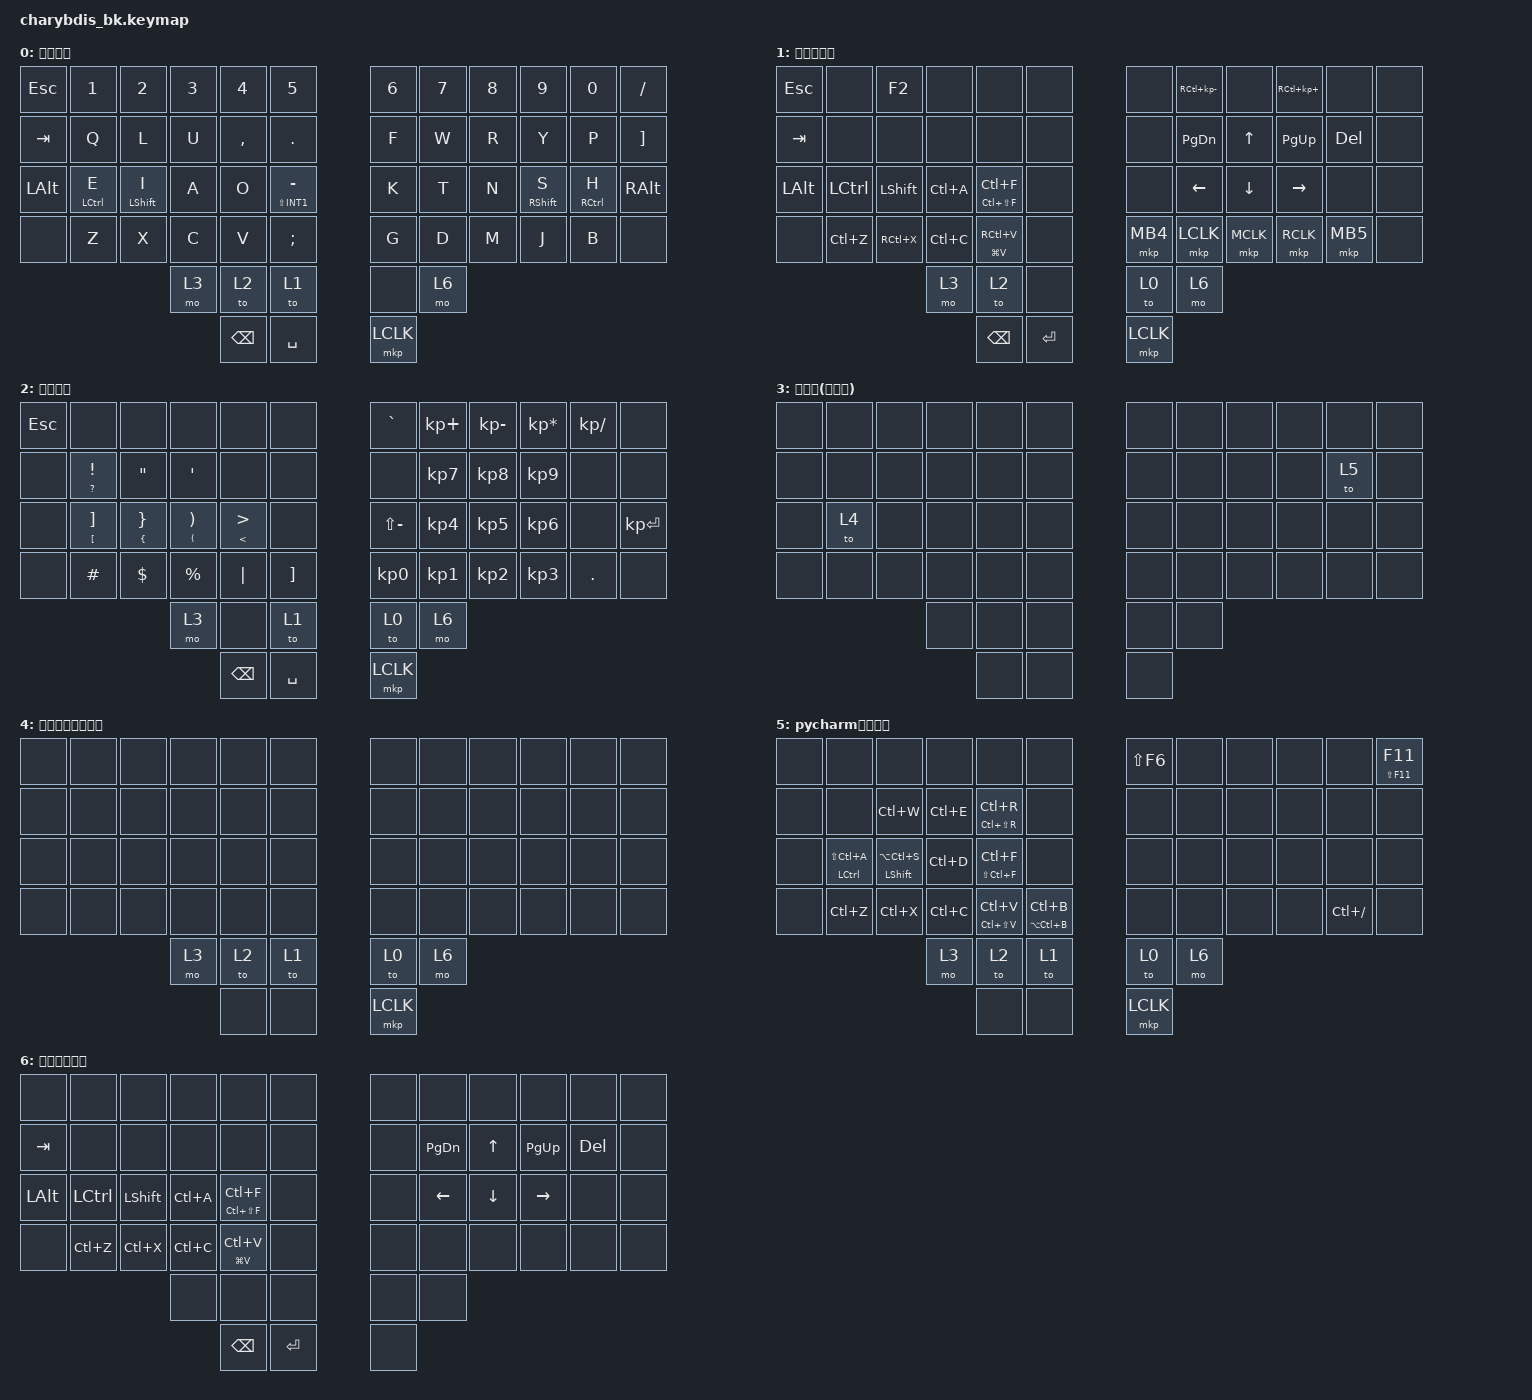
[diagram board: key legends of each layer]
#include <dt-bindings/zmk/mouse.h>
#include <behaviors/mouse_keys.dtsi>
#include <behaviors.dtsi>
#include <dt-bindings/zmk/keys.h>
#include <dt-bindings/zmk/pointing.h>

/ {
    /* --- トラックボール入力設定 --- */

    trackball_listener {
        compatible = "zmk,input-behavior-listener";
        device = <&vtrackball>;
        status = "okay";

        /* 根拠: 0,1,2の全レイヤーでマウス移動を許可する */

        layers = <0 1 2 3 4 5 6>; // <-- ここを修正
        evt-type = <INPUT_EV_REL>;
        x-input-code = <INPUT_REL_X>;
        y-input-code = <INPUT_REL_Y>;
        scale-multiplier = <1>;
        scale-divisor = <4>;
    };

    /* --- レイヤー3専用：低速設定（DPI変更） --- */
    /* ----------
    trackball_snipe_listener {
        compatible = "zmk,input-behavior-listener";
        device = <&vtrackball>;
        status = "okay";

        // 下記レイヤーの時だけこの設定を適用する

        layers = <2 3>;
        evt-type = <INPUT_EV_REL>;
        x-input-code = <INPUT_REL_X>;
        y-input-code = <INPUT_REL_Y>;
        scale-multiplier = <1>;

        // 根拠: 分母を大きくすると、マウスはより精密（低速）に動きます

        scale-divisor = <16>; // 2から8に変えることで、通常より4倍遅くなります
    };
    --------- */

    trackball_scroll_listener {
        compatible = "zmk,input-behavior-listener";
        device = <&vtrackball>;
        layers = <9>;
        evt-type = <INPUT_EV_REL>;
        x-input-code = <INPUT_REL_MISC>;
        y-input-code = <INPUT_REL_WHEEL>;
        y-invert;
        bindings = <&ib_wheel_scaler 1 14>;
    };

    ib_wheel_scaler: ib_wheel_scaler {
        compatible = "zmk,input-behavior-scaler";
        #binding-cells = <2>;
        evt-type = <INPUT_EV_REL>;
        input-code = <INPUT_REL_WHEEL>;
    };

    /* --- コンボ設定 --- */

    combos {
        compatible = "zmk,combos";

        zenkaku-hankaku-toggle {
            bindings = <&kp GRAVE>;
            key-positions = <14 13>;
            timeout-ms = <60>;
            require-prior-idle-ms = <100>;
            layers = <0 2 1>;
            slow-release;
        };
    };

    /* --- 特殊挙動定義 (エラー解消の根拠) --- */

    behaviors {
        ctrl_shlft: ctrl_shlft {
            compatible = "zmk,behavior-hold-tap";
            label = "CTRL_SHLFT";
            #binding-cells = <2>;
            flavor = "tap-preferred";
            tapping-term-ms = <280>;
            quick-tap-ms = <175>;
            bindings = <&kp>, <&kp>;
        };

        hmr: hmr {
            compatible = "zmk,behavior-hold-tap";
            label = "HMR";
            #binding-cells = <2>;
            tapping-term-ms = <190>;
            quick-tap-ms = <175>;
            flavor = "balanced";
            bindings = <&kp>, <&kp>;

            hold-trigger-key-positions = <0 1 2 3 4 5 12 13 14 15 16 17 24 25 26 27 28 29 36 37 38 39 40 41 48 49 50 51 52 53 54 55>;
        };

        hml: hml {
            compatible = "zmk,behavior-hold-tap";
            label = "HML";
            #binding-cells = <2>;
            tapping-term-ms = <190>;
            quick-tap-ms = <175>;
            flavor = "balanced";
            bindings = <&kp>, <&kp>;

            hold-trigger-key-positions = <6 7 8 9 10 11 18 19 20 21 22 23 30 31 32 33 34 35 42 43 44 45 46 47 48 49 50 51 52 53 54 55>;
        };
    };

    /* --- キーマップ --- */

    keymap {
        compatible = "zmk,keymap";

        base {
            label = "大西配列";
            bindings = <
&kp ESCAPE    &kp N1               &kp N2                    &kp N3  &kp N4         &kp N5                        &kp N6     &kp N7  &kp N8  &kp N9                     &kp N0               &kp SLASH
&kp TAB       &kp Q                &kp L                     &kp U   &kp COMMA      &kp DOT                       &kp F      &kp W   &kp R   &kp Y                      &kp P                &kp RBKT
&kp LEFT_ALT  &ctrl_shlft LCTRL E  &ctrl_shlft LEFT_SHIFT I  &kp A   &kp O          &ctrl_shlft LS(INT1) MINUS    &kp K      &kp T   &kp N   &ctrl_shlft RIGHT_SHIFT S  &ctrl_shlft RCTRL H  &kp RIGHT_ALT
&none         &kp Z                &kp X                     &kp C   &kp V          &kp SEMI                      &kp G      &kp D   &kp M   &kp J                      &kp B                &none
                                                             &mo 3   &to 2          &to 1                         &none      &mo 6
                                                                     &kp BACKSPACE  &kp SPACE                     &mkp LCLK
            >;
        };

        mouse {
            label = "マウス移動";
            bindings = <
&kp ESC       &none      &kp F2          &none      &none                        &none        &none      &kp RC(KP_MINUS)  &none           &kp RC(KP_PLUS)  &none       &none
&kp TAB       &none      &none           &none      &none                        &none        &none      &kp PAGE_DOWN     &kp UP_ARROW    &kp PAGE_UP      &kp DELETE  &none
&kp LEFT_ALT  &kp LCTRL  &kp LEFT_SHIFT  &kp LC(A)  &ctrl_shlft LC(LS(F)) LC(F)  &none        &none      &kp LEFT          &kp DOWN_ARROW  &kp RIGHT_ARROW  &none       &none
&none         &kp LC(Z)  &kp RC(X)       &kp LC(C)  &ctrl_shlft LG(V) RC(V)      &none        &mkp MB4   &mkp LCLK         &mkp MCLK       &mkp RCLK        &mkp MB5    &none
                                         &mo 3      &to 2                        &none        &to 0      &mo 6
                                                    &kp BACKSPACE                &kp ENTER    &mkp LCLK
            >;
        };

        number {
            bindings = <
&kp ESC  &none                                   &none                               &none                                           &none                               &none        &kp GRAVE        &kp KP_PLUS      &kp KP_MINUS     &kp KP_ASTERISK  &kp KP_SLASH  &none
&none    &ctrl_shlft QUESTION EXCLAMATION        &kp DOUBLE_QUOTES                   &kp SINGLE_QUOTE                                &none                               &none        &none            &kp KP_NUMBER_7  &kp KP_NUMBER_8  &kp KP_NUMBER_9  &none         &none
&none    &ctrl_shlft LEFT_BRACKET RIGHT_BRACKET  &ctrl_shlft LEFT_BRACE RIGHT_BRACE  &ctrl_shlft LEFT_PARENTHESIS RIGHT_PARENTHESIS  &ctrl_shlft LESS_THAN GREATER_THAN  &none        &kp LS(MINUS)    &kp KP_NUMBER_4  &kp KP_NUMBER_5  &kp KP_NUMBER_6  &none         &kp KP_ENTER
&none    &kp HASH                                &kp DOLLAR                          &kp PERCENT                                     &kp PIPE                            &kp RBKT     &kp KP_NUMBER_0  &kp KP_NUMBER_1  &kp KP_NUMBER_2  &kp KP_NUMBER_3  &kp DOT       &none
                                                                                     &mo 3                                           &none                               &to 1        &to 0            &mo 6
                                                                                                                                     &kp BACKSPACE                       &kp SPACE    &mkp LCLK
            >;

            label = "テンキー";
        };

        other_base {
            bindings = <
&none  &none  &none  &none  &none  &none    &none  &none  &none  &none  &none  &none
&none  &none  &none  &none  &none  &none    &none  &none  &none  &none  &to 5  &none
&none  &to 4  &none  &none  &none  &none    &none  &none  &none  &none  &none  &none
&none  &none  &none  &none  &none  &none    &none  &none  &none  &none  &none  &none
                     &none  &none  &none    &none  &none
                            &none  &none    &none
            >;

            label = "ベース(アプリ)";
        };

        Excel {
            bindings = <
&none  &none  &none  &none  &none  &none    &none      &none  &none  &none  &none  &none
&none  &none  &none  &none  &none  &none    &none      &none  &none  &none  &none  &none
&none  &none  &none  &none  &none  &none    &none      &none  &none  &none  &none  &none
&none  &none  &none  &none  &none  &none    &none      &none  &none  &none  &none  &none
                     &mo 3  &to 2  &to 1    &to 0      &mo 6
                            &none  &none    &mkp LCLK
            >;

            label = "エクセルコマンド";
        };

        pycharm_command {
            bindings = <
&none  &none                        &none                             &none      &none                        &none                          &kp LS(F6)  &none  &none  &none  &none          &ctrl_shlft LS(F11) F11
&none  &none                        &kp LC(W)                         &kp LC(E)  &ctrl_shlft LC(LS(R)) LC(R)  &none                          &none       &none  &none  &none  &none          &none
&none  &ctrl_shlft LCTRL LS(LC(A))  &ctrl_shlft LEFT_SHIFT LA(LC(S))  &kp LC(D)  &ctrl_shlft LS(LC(F)) LC(F)  &none                          &none       &none  &none  &none  &none          &none
&none  &kp LC(Z)                    &kp LC(X)                         &kp LC(C)  &ctrl_shlft LC(LS(V)) LC(V)  &ctrl_shlft LA(LC(B)) LC(B)    &none       &none  &none  &none  &kp LC(SLASH)  &none
                                                                      &mo 3      &to 2                        &to 1                          &to 0       &mo 6
                                                                                 &none                        &none                          &mkp LCLK
            >;

            label = "pycharmコマンド";
        };

        edit {
            label = "文字入力確定";
            bindings = <
&none         &none      &none           &none      &none                        &none        &none  &none           &none           &none            &none    &none
&kp TAB       &none      &none           &none      &none                        &none        &none  &kp PAGE_DOWN   &kp UP          &kp PAGE_UP      &kp DEL  &none
&kp LEFT_ALT  &kp LCTRL  &kp LEFT_SHIFT  &kp LC(A)  &ctrl_shlft LC(LS(F)) LC(F)  &none        &none  &kp LEFT_ARROW  &kp DOWN_ARROW  &kp RIGHT_ARROW  &none    &none
&none         &kp LC(Z)  &kp LC(X)       &kp LC(C)  &ctrl_shlft LG(V) LC(V)      &none        &none  &none           &none           &none            &none    &none
                                         &none      &none                        &none        &none  &none
                                                    &kp BACKSPACE                &kp ENTER    &none
            >;
        };
    };
};
